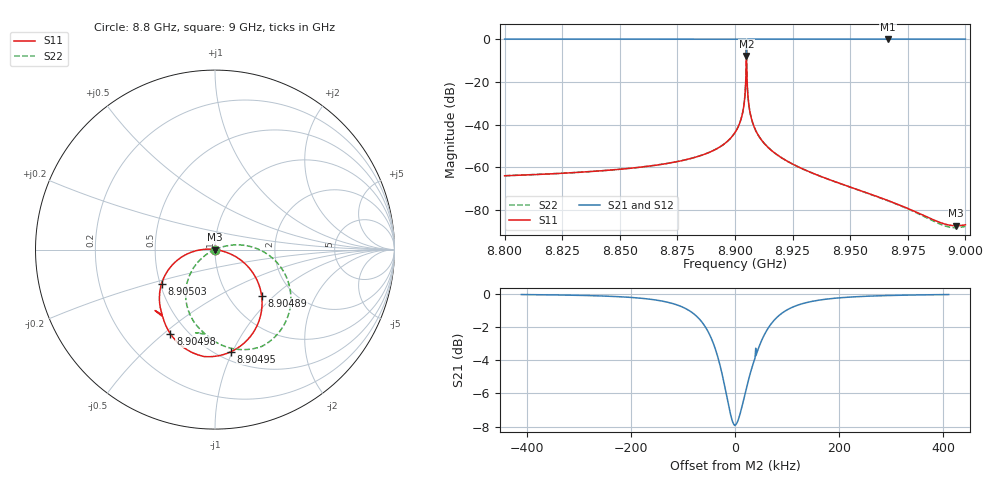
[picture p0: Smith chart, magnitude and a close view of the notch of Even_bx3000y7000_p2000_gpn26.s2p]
! Sonnet Data File
! From: emgraph Version : 16.52
! From Project: Resonator2_cp_cp
! Data is De-embedded
! Data File Written: 10/06/2017 09:20:30
!< HDATE 10/05/2017 21:11:40
!< MDATE 10/05/2017 21:11:40
!< PARAMS
!< gap = 26.0
!< Length = 400.0
!< Pwid1 = 2000.0
!< Pwid2 = 2000.0
!< END PARAMS
# GHZ S MA R 51.80000
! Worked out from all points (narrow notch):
!   1595 points, 8.8 GHz to 9 GHz, reference 51.8 ohm
!   highest |S21| = 0.00 dB at 8.9664 GHz (marker M1); lowest = -7.9 dB at 8.90496 GHz (marker M2)
!   notch at M2: 7.9 dB deep, 69.2 kHz wide at half that depth
!   lowest |S11| = -87.3 dB at 8.996 GHz (marker M3), VSWR 1.00, Z = 51.8 + j0.00442 ohm
!   |S11| at or under -10 dB: start of sweep to 8.90488 GHz; 8.90504 GHz to end of sweep
!   |S22| runs from -88.2 to -4.5 dB; largest |S21 - S12| = 0
!   S11 on the Smith chart (normalised r, x): 8.8 GHz: 1.00, -0.00; 8.90489 GHz: 1.41, -0.84; 8.90495 GHz: 0.58, -0.99; 8.90498 GHz: 0.40, -0.53; 8.90503 GHz: 0.51, -0.22; 9 GHz: 1.00, +0.00
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8.8  0.0006357 -2.0  1 -80.5  1 -80.5  0.0006366 21.4
!< P1 F=8.8 Eeff=(6.44679989 -2.9721e-5) Z0=(51.7992624 1.19519e-4) R=0.0 C=0.0
!< P2 F=8.8 Eeff=(6.44679989 -2.9721e-5) Z0=(51.7992624 1.19519e-4) R=0.0 C=0.0
8.8334  0.0007725 -3.1  1 -80.8  1 -80.8  0.0007735 21.7
8.8668  0.001147 -4.6  1 -81.2  1 -81.2  0.001148 22.4
8.889  0.002263 -6.1  1 -81.4  1 -81.4  0.002264 23.2
8.9  0.006524 -7.3  1 -81.8  1 -81.8  0.006525 23.3
8.903798  0.02669 -9.6  0.9992 -83.0  0.9992 -83.0  0.02669 21.7
8.904579  0.07998 -14.8  0.9925 -86.0  0.9925 -86.0  0.07999 16.6
8.904894  0.365 -44.7  0.8299 -101.9  0.8299 -101.9  0.3651 -13.3
8.904946  0.5757 -81.1  0.4745 -101.1  0.4745 -101.1  0.5758 -49.6
8.90496  0.599 -95.7  0.4015 -83.7  0.4015 -83.7  0.599 -64.2
8.904984  0.531 -117.9  0.5375 -61.0  0.5375 -61.0  0.531 -86.5
8.905032  0.3538 -147.4  0.8201 -62.1  0.8201 -62.1  0.3538 -116.0
8.905402  0.06873 179.4  0.9944 -77.5  0.9944 -77.5  0.06874 -149.1
8.906019  0.02865 175.5  0.999 -79.8  0.999 -79.8  0.02865 -152.9
8.909621  0.006248 173.0  0.9999 -81.1  0.9999 -81.1  0.006247 -154.8
8.918  0.002016 171.7  1 -81.5  1 -81.5  0.002015 -154.5
8.9334  0.000742 169.3  1 -81.7  1 -81.7  0.0007406 -152.8
8.9664  0.0001674 157.2  1 -82.0  1 -82.0  0.0001652 -142.5
8.9668  0.0001643 156.9  1 -82.0  1 -82.0  0.0001621 -142.2
8.9772  9.74e-05 145.7  1 -82.1  1 -82.1  9.45e-05 -131.9
8.996  4.312e-05 81.8  1 -82.3  1 -82.3  3.89e-05 -64.5
9  4.536e-05 63.6  1 -82.3  1 -82.3  4.179e-05 -44.8
